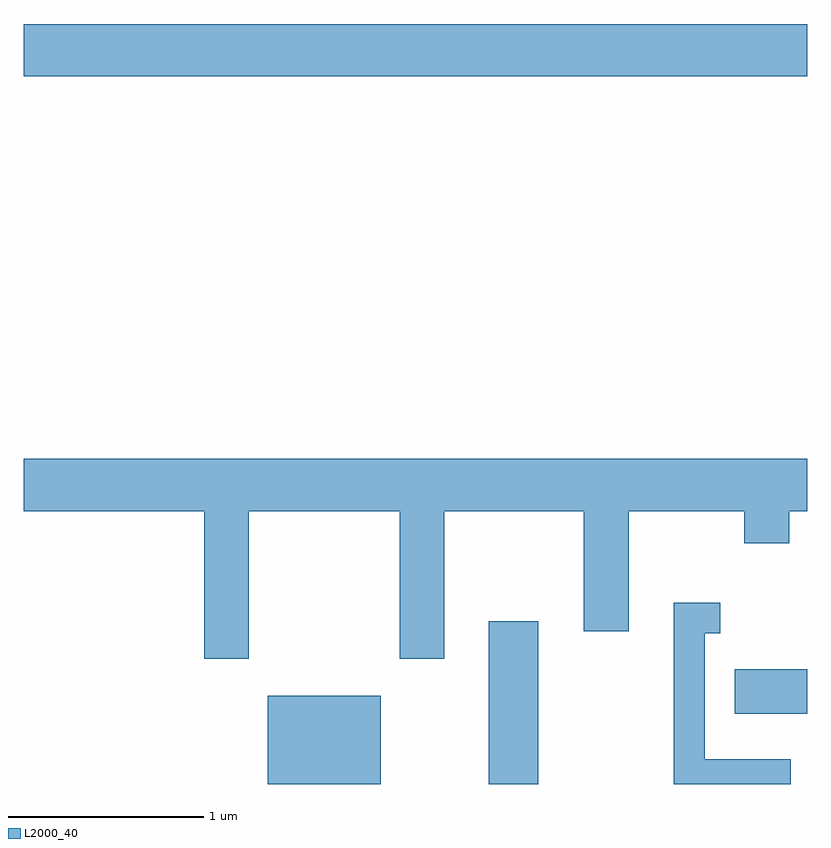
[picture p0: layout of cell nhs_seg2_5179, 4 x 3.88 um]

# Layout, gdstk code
import gdstk
lib = gdstk.Library(unit=1e-6, precision=1e-09)
def R(c, l, rs):  # rectangles x0, y0, x1, y1
    for r in rs: c.add(gdstk.rectangle(r[:2], r[2:], *l))
def P(c, l, *ps):  # polygons
    for p in ps: c.add(gdstk.Polygon(p, *l))
L2000_40 = (2000, 40)

nhs_seg2_5179 = lib.new_cell('nhs_seg2_5179')
R(nhs_seg2_5179, L2000_40, [(338.856,1055.802,339.434,1056.254), (339.986,1055.802,340.239,1056.634), (341.241,1056.161,341.611,1056.389), (337.611,1059.416,341.611,1059.684)])
P(nhs_seg2_5179, L2000_40, [(338.759,1057.196),(339.531,1057.196),(339.531,1056.441),(339.759,1056.441),(339.759,1057.196),(340.471,1057.196),(340.471,1056.581),(340.699,1056.581),(340.699,1057.196),(341.291,1057.196),(341.291,1057.031),(341.519,1057.031),(341.519,1057.196),(341.611,1057.196),(341.611,1057.464),(337.611,1057.464),(337.611,1057.196),(338.531,1057.196),(338.531,1056.441),(338.759,1056.441)],
  [(341.529,1055.929),(341.089,1055.929),(341.089,1056.571),(341.168,1056.571),(341.168,1056.729),(340.931,1056.729),(340.931,1055.802),(341.529,1055.802)])

lib.write_gds('nhs_seg2_5179.gds')
